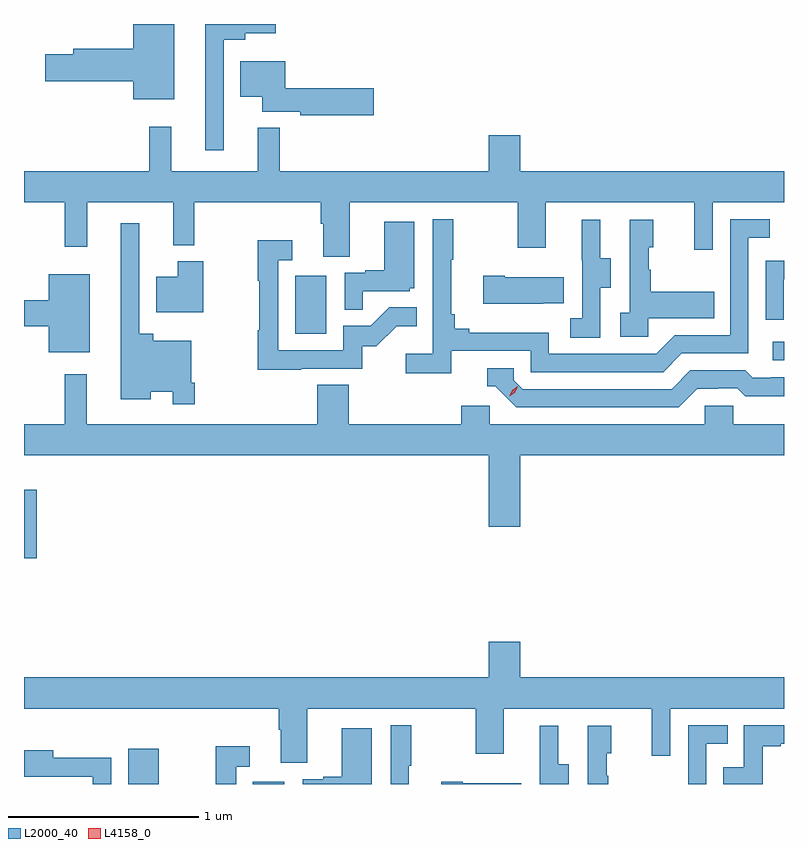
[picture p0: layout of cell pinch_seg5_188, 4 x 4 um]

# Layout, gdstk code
import gdstk
lib = gdstk.Library(unit=1e-6, precision=1e-09)
def R(c, l, rs):  # rectangles x0, y0, x1, y1
    for r in rs: c.add(gdstk.rectangle(r[:2], r[2:], *l))
def P(c, l, *ps):  # polygons
    for p in ps: c.add(gdstk.Polygon(p, *l))
L2000_40 = (2000, 40)
L4158_0 = (4158, 0)

pinch_seg5_188 = lib.new_cell('pinch_seg5_188')
R(pinch_seg5_188, L2000_40, [(1134.137,877.675,1134.298,877.861), (1134.794,877.675,1134.958,877.687), (1133.589,878.862,1133.657,879.223), (1137.531,879.906,1137.589,880.002), (1135.016,880.044,1135.18,880.351)])
P(pinch_seg5_188, L2000_40, [(1134.379,881.675),(1134.164,881.675),(1134.164,881.546),(1133.849,881.546),(1133.849,881.516),(1133.7,881.516),(1133.7,881.374),(1134.164,881.374),(1134.164,881.279),(1134.379,881.279)],
  [(1134.639,881.591),(1134.754,881.591),(1134.754,881.627),(1134.913,881.627),(1134.913,881.675),(1134.542,881.675),(1134.542,881.01),(1134.639,881.01)],
  [(1135.429,881.336),(1134.964,881.336),(1134.964,881.479),(1134.728,881.479),(1134.728,881.291),(1134.842,881.291),(1134.842,881.213),(1135.044,881.213),(1135.044,881.194),(1135.429,881.194)],
  [(1135.303,880.736),(1136.188,880.736),(1136.188,880.497),(1136.335,880.497),(1136.335,880.736),(1137.116,880.736),(1137.116,880.488),(1137.213,880.488),(1137.213,880.736),(1137.589,880.736),(1137.589,880.9),(1136.2,880.9),(1136.2,881.089),(1136.036,881.089),(1136.036,880.9),(1134.935,880.9),(1134.935,881.128),(1134.818,881.128),(1134.818,880.9),(1134.365,880.9),(1134.365,881.134),(1134.247,881.134),(1134.247,880.9),(1133.589,880.9),(1133.589,880.736),(1133.803,880.736),(1133.803,880.503),(1133.921,880.503),(1133.921,880.736),(1134.374,880.736),(1134.374,880.511),(1134.484,880.511),(1134.484,880.736),(1135.151,880.736),(1135.151,880.624),(1135.163,880.624),(1135.163,880.45),(1135.303,880.45)],
  [(1135.838,879.954),(1136.256,879.954),(1136.256,879.843),(1136.953,879.843),(1137.052,879.942),(1137.402,879.942),(1137.402,880.551),(1137.515,880.551),(1137.515,880.647),(1137.306,880.647),(1137.306,880.038),(1137.015,880.038),(1136.916,879.939),(1136.352,879.939),(1136.352,880.051),(1135.933,880.051),(1135.933,880.07),(1135.856,880.07),(1135.856,880.147),(1135.837,880.147),(1135.837,880.435),(1135.849,880.435),(1135.849,880.648),(1135.74,880.648),(1135.74,879.94),(1135.599,879.94),(1135.599,879.838),(1135.838,879.838)],
  [(1136.622,880.288),(1136.677,880.288),(1136.677,880.443),(1136.623,880.443),(1136.623,880.645),(1136.525,880.645),(1136.525,880.431),(1136.526,880.431),(1136.526,880.127),(1136.463,880.127),(1136.463,880.024),(1136.622,880.024)],
  [(1136.874,880.127),(1137.221,880.127),(1137.221,880.267),(1136.887,880.267),(1136.887,880.382),(1136.877,880.382),(1136.877,880.5),(1136.902,880.5),(1136.902,880.645),(1136.778,880.645),(1136.778,880.154),(1136.727,880.154),(1136.727,880.029),(1136.874,880.029)],
  [(1135.373,880.269),(1135.62,880.269),(1135.62,880.284),(1135.642,880.284),(1135.642,880.633),(1135.484,880.633),(1135.484,880.378),(1135.385,880.378),(1135.385,880.365),(1135.278,880.365),(1135.278,880.171),(1135.373,880.171)],
  [(1134.488,879.787),(1134.468,879.787),(1134.468,880.009),(1134.269,880.009),(1134.269,880.045),(1134.195,880.045),(1134.195,880.627),(1134.098,880.627),(1134.098,879.701),(1134.256,879.701),(1134.256,879.74),(1134.372,879.74),(1134.372,879.675),(1134.488,879.675)],
  [(1135.049,879.861),(1135.368,879.861),(1135.368,879.978),(1135.444,879.978),(1135.551,880.085),(1135.655,880.085),(1135.655,880.184),(1135.511,880.184),(1135.413,880.086),(1135.269,880.086),(1135.269,879.957),(1134.927,879.957),(1134.927,880.431),(1135,880.431),(1135,880.537),(1134.819,880.537),(1134.819,880.324),(1134.826,880.324),(1134.826,880.064),(1134.819,880.064),(1134.819,879.856),(1135.049,879.856)],
  [(1137.588,880.331),(1137.589,880.331),(1137.589,880.428),(1137.492,880.428),(1137.492,880.119),(1137.588,880.119)],
  [(1134.532,880.426),(1134.398,880.426),(1134.398,880.345),(1134.284,880.345),(1134.284,880.157),(1134.532,880.157)],
  [(1133.935,880.357),(1133.72,880.357),(1133.72,880.22),(1133.589,880.22),(1133.589,880.084),(1133.72,880.084),(1133.72,879.947),(1133.935,879.947)],
  [(1136.321,880.205),(1136.429,880.205),(1136.429,880.342),(1136.119,880.342),(1136.119,880.35),(1136.007,880.35),(1136.007,880.202),(1136.321,880.202)],
  [(1137.133,879.756),(1137.24,879.756),(1137.24,879.759),(1137.343,879.759),(1137.385,879.717),(1137.589,879.717),(1137.589,879.816),(1137.523,879.816),(1137.523,879.813),(1137.424,879.813),(1137.385,879.852),(1137.096,879.852),(1136.997,879.753),(1136.214,879.753),(1136.166,879.801),(1136.166,879.864),(1136.027,879.864),(1136.027,879.768),(1136.07,879.768),(1136.181,879.657),(1137.034,879.657)],
  [(1136.2,879.404),(1137.589,879.404),(1137.589,879.568),(1137.321,879.568),(1137.321,879.666),(1137.171,879.666),(1137.171,879.568),(1136.04,879.568),(1136.04,879.666),(1135.889,879.666),(1135.889,879.568),(1135.298,879.568),(1135.298,879.776),(1135.133,879.776),(1135.133,879.568),(1133.92,879.568),(1133.92,879.832),(1133.803,879.832),(1133.803,879.568),(1133.589,879.568),(1133.589,879.404),(1136.036,879.404),(1136.036,879.03),(1136.2,879.03)],
  [(1135.081,878.072),(1135.966,878.072),(1135.966,877.833),(1136.113,877.833),(1136.113,878.072),(1136.894,878.072),(1136.894,877.824),(1136.991,877.824),(1136.991,878.072),(1137.589,878.072),(1137.589,878.236),(1136.2,878.236),(1136.2,878.425),(1136.036,878.425),(1136.036,878.236),(1133.589,878.236),(1133.589,878.072),(1134.929,878.072),(1134.929,877.96),(1134.941,877.96),(1134.941,877.786),(1135.081,877.786)],
  [(1135.615,877.771),(1135.627,877.771),(1135.627,877.984),(1135.518,877.984),(1135.518,877.675),(1135.615,877.675)],
  [(1137.18,877.887),(1137.293,877.887),(1137.293,877.983),(1137.084,877.983),(1137.084,877.675),(1137.18,877.675)],
  [(1137.476,877.875),(1137.571,877.875),(1137.571,877.887),(1137.589,877.887),(1137.589,877.983),(1137.378,877.983),(1137.378,877.764),(1137.27,877.764),(1137.27,877.675),(1137.476,877.675)],
  [(1136.455,877.779),(1136.401,877.779),(1136.401,877.981),(1136.303,877.981),(1136.303,877.767),(1136.304,877.767),(1136.304,877.675),(1136.455,877.675)],
  [(1136.665,877.718),(1136.655,877.718),(1136.655,877.836),(1136.68,877.836),(1136.68,877.981),(1136.556,877.981),(1136.556,877.675),(1136.665,877.675)],
  [(1135.42,877.969),(1135.262,877.969),(1135.262,877.714),(1135.163,877.714),(1135.163,877.701),(1135.056,877.701),(1135.056,877.675),(1135.42,877.675)],
  [(1134.705,877.767),(1134.778,877.767),(1134.778,877.873),(1134.597,877.873),(1134.597,877.675),(1134.705,877.675)],
  [(1134.048,877.814),(1133.743,877.814),(1133.743,877.852),(1133.589,877.852),(1133.589,877.712),(1133.639,877.712),(1133.639,877.713),(1133.952,877.713),(1133.952,877.675),(1134.048,877.675)],
  [(1136.207,877.678),(1135.897,877.678),(1135.897,877.686),(1135.785,877.686),(1135.785,877.675),(1136.207,877.675)])
P(pinch_seg5_188, L4158_0, [(1136.142,879.715),(1136.142,879.716),(1136.158,879.748),(1136.188,879.768),(1136.188,879.768),(1136.188,879.768),(1136.173,879.735),(1136.142,879.715)])

lib.write_gds('pinch_seg5_188.gds')
